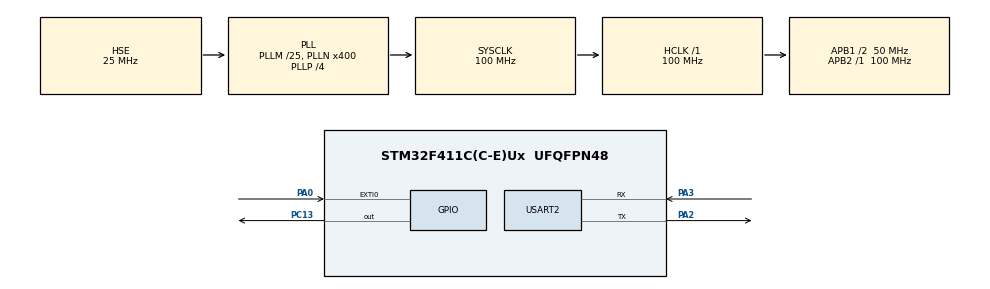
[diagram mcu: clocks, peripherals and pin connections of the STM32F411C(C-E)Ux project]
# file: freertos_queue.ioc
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Mcu.Family=STM32F4
Mcu.Name=STM32F411C(C-E)Ux
Mcu.Package=UFQFPN48
NVIC.EXTI0_IRQn=true\:5\:0\:true\:false\:false\:true\:true
NVIC.PriorityGroup=NVIC_PRIORITYGROUP_4
NVIC.TIM1_UP_TIM10_IRQn=true\:0\:0\:false\:false\:true\:false\:true
NVIC.TimeBase=TIM1_UP_TIM10_IRQn
NVIC.TimeBaseIP=TIM1
NVIC.USART2_IRQn=true\:5\:0\:true\:false\:false\:true\:true
PA0-WKUP.GPIO_ModeDefaultEXTI=GPIO_MODE_IT_FALLING
PA0-WKUP.GPIO_PuPd=GPIO_PULLUP
PA0-WKUP.Signal=GPXTI0
PA13.Mode=Trace_Asynchronous_SW
PA13.Signal=SYS_JTMS-SWDIO
PA14.Mode=Trace_Asynchronous_SW
PA14.Signal=SYS_JTCK-SWCLK
PA2.Mode=Asynchronous
PA2.Signal=USART2_TX
PA3.Mode=Asynchronous
PA3.Signal=USART2_RX
PB3.Mode=Trace_Asynchronous_SW
PB3.Signal=SYS_JTDO-SWO
PC13-ANTI_TAMP.PinState=GPIO_PIN_SET
PC13-ANTI_TAMP.Signal=GPIO_Output
PH0\ -\ OSC_IN.Mode=HSE-External-Oscillator
PH0\ -\ OSC_IN.Signal=RCC_OSC_IN
PH1\ -\ OSC_OUT.Mode=HSE-External-Oscillator
PH1\ -\ OSC_OUT.Signal=RCC_OSC_OUT
ProjectManager.HeapSize=0x200
ProjectManager.StackSize=0x400
ProjectManager.TargetToolchain=STM32CubeIDE
RCC.48MHZClocksFreq_Value=100000000
RCC.AHBFreq_Value=100000000
RCC.APB1CLKDivider=RCC_HCLK_DIV2
RCC.APB1Freq_Value=50000000
RCC.APB1TimFreq_Value=100000000
RCC.APB2Freq_Value=100000000
RCC.APB2TimFreq_Value=100000000
RCC.CortexFreq_Value=100000000
RCC.HCLKFreq_Value=100000000
RCC.HSE_VALUE=25000000
RCC.HSI_VALUE=16000000
RCC.LSE_VALUE=32768
RCC.PLLM=25
RCC.PLLN=400
RCC.PLLP=RCC_PLLP_DIV4
RCC.PLLSourceVirtual=RCC_PLLSOURCE_HSE
RCC.SYSCLKFreq_VALUE=100000000
RCC.SYSCLKSource=RCC_SYSCLKSOURCE_PLLCLK
RCC.VCOOutputFreq_Value=400000000
USART2.VirtualMode=VM_ASYNC
VP_SYS_VS_tim1.Mode=TIM1
board=custom

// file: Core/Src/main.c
/* USER CODE BEGIN Header */
// Weact v 1.3 STM32F411CEU6 dev board
// Demos task notification from isr, queues, software timer

/* USER CODE END Header */
#include "main.h"

/* USER CODE BEGIN Includes */
#include <stdio.h>
#include <stdint.h>
#include <string.h>

#include "FreeRTOS.h"
#include "task.h"
#include "queue.h"
#include "timers.h"

/* USER CODE END Includes */

UART_HandleTypeDef huart2;

void SystemClock_Config(void);
static void MX_GPIO_Init(void);
static void MX_USART2_UART_Init(void);

/* USER CODE BEGIN 0 */

TaskHandle_t xTaskMenuDisplay = NULL;
TaskHandle_t xTaskUartWrite = NULL;
TaskHandle_t xTaskCmdHandler = NULL;
TaskHandle_t xTaskCmdProcessor = NULL;

QueueHandle_t queueCommand = NULL;
QueueHandle_t queueUartWrite = NULL;

TimerHandle_t ledTimerHandle = NULL;

typedef struct APP_CMD_{
	uint8_t COMMAND_NUM;
	uint8_t COMMAND_ARGS[10];
	} APP_CMD;

uint8_t commandBuffer[20];
uint8_t commandLen =0;

char menu[]={"\
\r\nLED_ON             ----> 1 \
\r\nLED_OFF            ----> 2 \
\r\nLED_TOGGLE         ----> 3 \
\r\nLED_TOGGLE_OFF     ----> 4 \
\r\nLED_READ_STATUS    ----> 5 \
\r\nEXIT_APP           ----> 0 \
\r\nType your option here : "};

#define LED_ON_COMMAND 			1
#define LED_OFF_COMMAND 		2
#define LED_TOGGLE_COMMAND 		3
#define LED_TOGGLE_STOP_COMMAND 4
#define LED_READ_STATUS_COMMAND 5

void task_uart_write(void* pParams);
void task_command_handler(void* pParams);
void task_command_processor(void* pParams);
void task_menu_display(void* pParams);

void print_msg(char *format,...);
void print_uart_sz(char *msg);
void busy_delay(uint32_t delay_in_ms);
uint8_t get_command_code(uint8_t *buffer);
void led_on(void);
void led_off(void);
void ledToggle(TimerHandle_t xTimer);
void led_toggle_start(uint32_t duration);
void led_toggle_stop(void);

void busy_delay(uint32_t delay_in_ms){
	uint32_t current_tick_count = xTaskGetTickCount();
	uint32_t delay_in_ticks = (delay_in_ms * configTICK_RATE_HZ ) /1000 ;
	while(xTaskGetTickCount() <  (current_tick_count + delay_in_ticks));
	}

void print_uart_sz(char *msg){
	for(int inx = 0; inx < strlen(msg); inx++)	{
		while (!(huart2.Instance->SR & UART_FLAG_TXE));
		huart2.Instance->DR = (uint16_t) msg[inx];
		}
	while (!(huart2.Instance->SR & UART_FLAG_TC));
	}

void print_msg(char *format,...){
	char str[120];
	va_list args;
	va_start(args, format);
	vsprintf(str, format,args);
	print_uart_sz(str);
	va_end(args);
 	}

void EXTI0_IRQHandler(void){
	traceISR_ENTER();
	HAL_GPIO_EXTI_IRQHandler(GPIO_PIN_0);
	HAL_GPIO_TogglePin(GPIOC, GPIO_PIN_13);
	traceISR_EXIT();
	}

void USART2_IRQHandler(void) {
	// do NOT call the HAL irq handler !
	traceISR_ENTER();
	uint16_t dataByte;
	BaseType_t xHigherPriorityTaskWoken = pdFALSE;
	uint32_t isrflags   = READ_REG(huart2.Instance->SR);
	if(isrflags & USART_SR_RXNE)	{
		// RX not empty interrupt received
		// reading the DR register clears the RXNE interrupt
		dataByte = huart2.Instance->DR & (uint16_t)0xFF;
		commandBuffer[commandLen++] = (uint8_t)dataByte;
		if(dataByte == '\r')		{
			// user is finished entering the data
			// reset the commandLen variable
			commandLen = 0;
			//notify the command handling task
			xTaskNotifyFromISR(xTaskCmdHandler, 0, eNoAction, &xHigherPriorityTaskWoken);
			// notify the menu display task. This has lower priority, so TaskCmdHandler and
			// TaskCmdProcessor output will be printed first, then the menuDisplay output
			xTaskNotifyFromISR(xTaskMenuDisplay, 0, eNoAction, &xHigherPriorityTaskWoken);
			}
		}

	// if the above freertos apis wake up any higher priority task, then yield the processor to the
	// higher priority task which is just woken up.
	if(xHigherPriorityTaskWoken)	{
		taskYIELD();
		}
	traceISR_EXIT();
	}

uint8_t get_command_code(uint8_t *buffer){
	return buffer[0]-48;
	}

void led_on(void){
	HAL_GPIO_WritePin(GPIOC, GPIO_PIN_13, GPIO_PIN_RESET);
	}

void led_off(void){
	HAL_GPIO_WritePin(GPIOC, GPIO_PIN_13, GPIO_PIN_SET);
	}

void ledToggle(TimerHandle_t xTimer){
	traceTIMER_ENTER(xTimer);
	HAL_GPIO_TogglePin(GPIOC, GPIO_PIN_13);
	traceTIMER_EXIT();
	}

void led_toggle_start(uint32_t duration){
	if(ledTimerHandle == NULL)	{
		ledTimerHandle = xTimerCreate("LED_TIMER", duration, pdTRUE, NULL, ledToggle);
		}
	xTimerStart(ledTimerHandle,portMAX_DELAY);
	}

void led_toggle_stop(void){
	 xTimerStop(ledTimerHandle,portMAX_DELAY);
	}

void read_led_status(char *taskMsg){
	sprintf(taskMsg , "\r\nLED status is : %s\r\n", HAL_GPIO_ReadPin(GPIOC, GPIO_PIN_13) ? "OFF" : "ON");
	xQueueSend(queueUartWrite, &taskMsg, portMAX_DELAY);
	}

void print_error_message(char *taskMsg){
	sprintf( taskMsg,"\r\nInvalid command received\r\n");
	xQueueSend(queueUartWrite, &taskMsg,portMAX_DELAY);
	}

void task_menu_display(void *params){
	char *pData = menu;
	while(1)	{
		xQueueSend(queueUartWrite, &pData, portMAX_DELAY);
		//wait here until someone notifies.
		xTaskNotifyWait(0, 0, NULL, portMAX_DELAY);
		}
	}

void task_command_handler(void *params){
	uint8_t commandCode=0;
	APP_CMD *newCmd;
	while(1)	{
		xTaskNotifyWait(0, 0, NULL, portMAX_DELAY);
		newCmd = (APP_CMD*) pvPortMalloc(sizeof(APP_CMD));

		taskENTER_CRITICAL();
		commandCode = get_command_code(commandBuffer);
		taskEXIT_CRITICAL();

		newCmd->COMMAND_NUM = commandCode;
		xQueueSend(queueCommand, &newCmd, portMAX_DELAY);
		}
	}

void task_command_processor(void *params){
	APP_CMD *newCmd;
	char taskMsg[50];
	uint32_t toggleDuration = pdMS_TO_TICKS(50);

	while(1)	{
		xQueueReceive(queueCommand, (void*)&newCmd, portMAX_DELAY);
		switch (newCmd->COMMAND_NUM) {
		case LED_ON_COMMAND:
			led_on();
			break;

		case LED_OFF_COMMAND:
			led_off();
		    break;

		case LED_TOGGLE_COMMAND:
			led_toggle_start(toggleDuration);
			break;

		case LED_TOGGLE_STOP_COMMAND:
			led_toggle_stop();
		    break;

		case LED_READ_STATUS_COMMAND:
			read_led_status(taskMsg);
		    break;

		default :
			print_error_message(taskMsg);
			break;
			}

		// free the allocated memory for the new command
		vPortFree(newCmd);
		}
	}

void task_uart_write(void *params){
	char *pData = NULL;
	while(1)	{
		xQueueReceive(queueUartWrite, &pData, portMAX_DELAY);
		print_uart_sz(pData);
		}
	}

/* USER CODE END 0 */

int main(void)
{

  /* MCU Configuration--------------------------------------------------------*/

  /* Reset of all peripherals, Initializes the Flash interface and the Systick. */
  HAL_Init();

  /* Configure the system clock */
  SystemClock_Config();

  /* USER CODE BEGIN SysInit */
  HAL_RCC_DeInit(); // 16 MHz HSI
  SystemCoreClockUpdate();

  /* USER CODE END SysInit */

  /* Initialize all configured peripherals */
  MX_GPIO_Init();
  MX_USART2_UART_Init();
  /* USER CODE BEGIN 2 */

  print_msg("SystemCoreClock %lu\r\n", SystemCoreClock);
  print_msg("Queue Demo\r\n");
  DWT->CTRL |= (1 << 0); // enable CYCCNT for SystemView

  SEGGER_SYSVIEW_Conf();
  vSetVarulMaxPRIGROUPValue();
  SEGGER_SYSVIEW_Start();

	queueCommand = xQueueCreate( 10, sizeof(APP_CMD*));
	queueUartWrite = xQueueCreate(10, sizeof(char*));

	if((queueCommand != NULL) && (queueUartWrite != NULL))	{
		xTaskCreate(task_uart_write, "tskUartWrite", 500, NULL, 2, &xTaskUartWrite);
		xTaskCreate(task_menu_display, "tskMenuDisplay", 500, NULL, 1, &xTaskMenuDisplay);
		xTaskCreate(task_command_handler, "tskCmdHandler", 500, NULL, 2, &xTaskCmdHandler);
		xTaskCreate(task_command_processor, "tskCmdProcessor", 500, NULL, 2, &xTaskCmdProcessor);
	    vTaskStartScheduler();
		}
	else{
		print_msg("Queue creation failed\r\n");
		}

  /* USER CODE END 2 */

  /* Infinite loop */
  /* USER CODE BEGIN WHILE */
  int counter = 0;
  while (1)
  {
    /* USER CODE END WHILE */

    /* USER CODE BEGIN 3 */
	  HAL_GPIO_TogglePin(GPIOC, GPIO_PIN_13);
	  print_msg("main loop %d\r\n", counter++);
	  HAL_Delay(1000);
  }
  /* USER CODE END 3 */
}

void SystemClock_Config(void)
{
  RCC_OscInitTypeDef RCC_OscInitStruct = {0};
  RCC_ClkInitTypeDef RCC_ClkInitStruct = {0};

  /** Configure the main internal regulator output voltage
  */
  __HAL_RCC_PWR_CLK_ENABLE();
  __HAL_PWR_VOLTAGESCALING_CONFIG(PWR_REGULATOR_VOLTAGE_SCALE1);
  /** Initializes the RCC Oscillators according to the specified parameters
  * in the RCC_OscInitTypeDef structure.
  */
  RCC_OscInitStruct.OscillatorType = RCC_OSCILLATORTYPE_HSE;
  RCC_OscInitStruct.HSEState = RCC_HSE_ON;
  RCC_OscInitStruct.PLL.PLLState = RCC_PLL_ON;
  RCC_OscInitStruct.PLL.PLLSource = RCC_PLLSOURCE_HSE;
  RCC_OscInitStruct.PLL.PLLM = 25;
  RCC_OscInitStruct.PLL.PLLN = 400;
  RCC_OscInitStruct.PLL.PLLP = RCC_PLLP_DIV4;
  RCC_OscInitStruct.PLL.PLLQ = 4;
  if (HAL_RCC_OscConfig(&RCC_OscInitStruct) != HAL_OK)
  {
    Error_Handler();
  }
  /** Initializes the CPU, AHB and APB buses clocks
  */
  RCC_ClkInitStruct.ClockType = RCC_CLOCKTYPE_HCLK|RCC_CLOCKTYPE_SYSCLK
                              |RCC_CLOCKTYPE_PCLK1|RCC_CLOCKTYPE_PCLK2;
  RCC_ClkInitStruct.SYSCLKSource = RCC_SYSCLKSOURCE_PLLCLK;
  RCC_ClkInitStruct.AHBCLKDivider = RCC_SYSCLK_DIV1;
  RCC_ClkInitStruct.APB1CLKDivider = RCC_HCLK_DIV2;
  RCC_ClkInitStruct.APB2CLKDivider = RCC_HCLK_DIV1;

  if (HAL_RCC_ClockConfig(&RCC_ClkInitStruct, FLASH_LATENCY_3) != HAL_OK)
  {
    Error_Handler();
  }
}

static void MX_USART2_UART_Init(void)
{

  huart2.Instance = USART2;
  huart2.Init.BaudRate = 115200;
  huart2.Init.WordLength = UART_WORDLENGTH_8B;
  huart2.Init.StopBits = UART_STOPBITS_1;
  huart2.Init.Parity = UART_PARITY_NONE;
  huart2.Init.Mode = UART_MODE_TX_RX;
  huart2.Init.HwFlowCtl = UART_HWCONTROL_NONE;
  huart2.Init.OverSampling = UART_OVERSAMPLING_16;
  if (HAL_UART_Init(&huart2) != HAL_OK)
  {
    Error_Handler();
  }
  /* USER CODE BEGIN USART2_Init 2 */
  huart2.Instance->CR1 |= USART_CR1_RXNEIE;
  /* USER CODE END USART2_Init 2 */

}

static void MX_GPIO_Init(void)
{
  GPIO_InitTypeDef GPIO_InitStruct = {0};

  /* GPIO Ports Clock Enable */
  __HAL_RCC_GPIOC_CLK_ENABLE();
  __HAL_RCC_GPIOH_CLK_ENABLE();
  __HAL_RCC_GPIOA_CLK_ENABLE();
  __HAL_RCC_GPIOB_CLK_ENABLE();

  /*Configure GPIO pin Output Level */
  HAL_GPIO_WritePin(GPIOC, GPIO_PIN_13, GPIO_PIN_SET);

  /*Configure GPIO pin : PC13 */
  GPIO_InitStruct.Pin = GPIO_PIN_13;
  GPIO_InitStruct.Mode = GPIO_MODE_OUTPUT_PP;
  GPIO_InitStruct.Pull = GPIO_NOPULL;
  GPIO_InitStruct.Speed = GPIO_SPEED_FREQ_LOW;
  HAL_GPIO_Init(GPIOC, &GPIO_InitStruct);

  /*Configure GPIO pin : PA0 */
  GPIO_InitStruct.Pin = GPIO_PIN_0;
  GPIO_InitStruct.Mode = GPIO_MODE_IT_FALLING;
  GPIO_InitStruct.Pull = GPIO_PULLUP;
  HAL_GPIO_Init(GPIOA, &GPIO_InitStruct);

  /* EXTI interrupt init*/
  HAL_NVIC_SetPriority(EXTI0_IRQn, 5, 0);
  HAL_NVIC_EnableIRQ(EXTI0_IRQn);

}

 /**
  * @brief  Period elapsed callback in non blocking mode
  * @note   This function is called  when TIM1 interrupt took place, inside
  * HAL_TIM_IRQHandler(). It makes a direct call to HAL_IncTick() to increment
  * a global variable "uwTick" used as application time base.
  * @param  htim : TIM handle
  * @retval None
  */
void HAL_TIM_PeriodElapsedCallback(TIM_HandleTypeDef *htim)
{
  if (htim->Instance == TIM1) {
    HAL_IncTick();
  }
}

void Error_Handler(void)
{
  /* USER CODE BEGIN Error_Handler_Debug */
  /* User can add his own implementation to report the HAL error return state */
	// toggle the board LED rapidly
	int counter = 0;
	while (1) {
		HAL_GPIO_TogglePin(GPIOC, GPIO_PIN_13);
		while (counter < 0x3FFFF) {counter++;}
		counter = 0;
		}
  /* USER CODE END Error_Handler_Debug */
}

/************************ (C) COPYRIGHT STMicroelectronics *****END OF FILE****/
